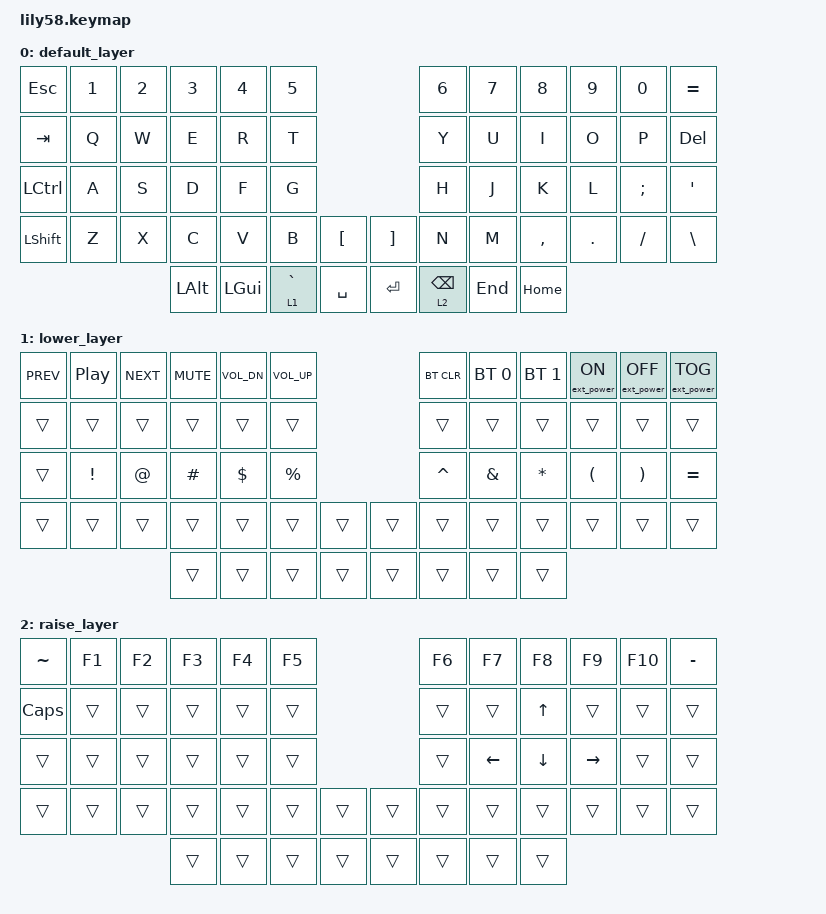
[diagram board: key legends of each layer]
/*
 * Copyright (c) 2020 The ZMK Contributors
 *
 * SPDX-License-Identifier: MIT
 */

#include <behaviors.dtsi>
#include <dt-bindings/zmk/bt.h>
#include <dt-bindings/zmk/ext_power.h>
#include <dt-bindings/zmk/keys.h>

/ {
    combos {
        compatible = "zmk,combos";

        combo_esc {
            timeout-ms = <50>;
            key-positions = <0 1>;
            bindings = <&kp ESC>;
        };
    };

    behaviors {
        ss_hs_modmorph: ss_hs_modmorph {
            compatible = "zmk,behavior-mod-morph";
            label = "SS_HS_MODMORPH";
            bindings = <&kp M>, <&kp RIGHT_BRACKET>;

            #binding-cells = <0>;
            mods = <(MOD_LSFT|MOD_RSFT)>;
        };

        kh_hs_tapdance: kh_hs_tapdance {
            compatible = "zmk,behavior-tap-dance";
            label = "KH_HS_TAPDANCE";
            #binding-cells = <0>;
            tapping-term-ms = <200>;
            bindings = <&kp LEFT_BRACKET>, <&kp RIGHT_BRACKET>;
        };

        hrm: hrm {
            compatible = "zmk,behavior-hold-tap";
            #binding-cells = <2>;
            flavor = "tap-preferred";
            tapping-term-ms = <200>;
            quick-tap-ms = <200>;
            require-prior-idle-ms = <125>;
            bindings = <&kp>, <&kp>;
        };
    };

    keymap {
        compatible = "zmk,keymap";

        default_layer {
            // ------------------------------------------------------------------------------------------------------------
            // |  ESC  |  1  |  2  |  3   |  4   |  5   |                   |  6   |  7    |  8    |  9   |   0   |   `   |
            // |  TAB  |  Q  |  W  |  E   |  R   |  T   |                   |  Y   |  U    |  I    |  O   |   P   |   -   |
            // |  CTRL |  A  |  S  |  D   |  F   |  G   |                   |  H   |  J    |  K    |  L   |   ;   |   '   |
            // | SHIFT |  Z  |  X  |  C   |  V   |  B   |   "["  |  |  "]"  |  N   |  M    |  ,    |  .   |   /   | SHIFT |
            //                     | ALT  | GUI  | LOWER|  SPACE |  | ENTER | RAISE| BSPC  | GUI   |

            bindings = <
&kp ESC    &kp N1  &kp N2  &kp N3    &kp N4    &kp N5                              &kp N6      &kp N7   &kp N8     &kp N9   &kp N0    &kp EQUAL
&kp TAB    &kp Q   &kp W   &kp E     &kp R     &kp T                               &kp Y       &kp U    &kp I      &kp O    &kp P     &kp DEL
&kp LCTRL  &kp A   &kp S   &kp D     &kp F     &kp G                               &kp H       &kp J    &kp K      &kp L    &kp SEMI  &kp SQT
&kp LSHFT  &kp Z   &kp X   &kp C     &kp V     &kp B        &kp LBKT     &kp RBKT  &kp N       &kp M    &kp COMMA  &kp DOT  &kp FSLH  &kp BSLH
                           &kp LALT  &kp LGUI  &lt 1 GRAVE  &kp SPACE    &kp RET   &lt 2 BSPC  &kp END  &kp HOME
            >;
        };

        lower_layer {
            // ------------------------------------------------------------------------------------------------------------
            // | BTCLR | BT1 | BT2 |  BT3 |  BT4 |  BT5 |                   |      |       |       |      |       |       |
            // |  F1   |  F2 |  F3 |  F4  |  F5  |  F6  |                   |  F7  |  F8   |  F9   |  F10 |  F11  |  F12  |
            // |   `   |  !  |  @  |  #   |  $   |  %   |                   |  ^   |  &    |  *    |  (   |   )   |   ~   |
            // |       |     |     |      |      |      |        |  |       |      |  _    |  +    |  {   |   }   |  "|"  |
            //                     |      |      |      |        |  |       |      |       |       |

            bindings = <
&kp C_PREV  &kp C_PLAY_PAUSE  &kp C_NEXT  &kp C_MUTE  &kp C_VOL_DN  &kp C_VOL_UP                    &bt BT_CLR  &bt BT_SEL 0  &bt BT_SEL 1  &ext_power EP_ON  &ext_power EP_OFF  &ext_power EP_TOG
&trans      &trans            &trans      &trans      &trans        &trans                          &trans      &trans        &trans        &trans            &trans             &trans
&trans      &kp EXCL          &kp AT      &kp HASH    &kp DLLR      &kp PRCNT                       &kp CARET   &kp AMPS      &kp STAR      &kp LPAR          &kp RPAR           &kp EQUAL
&trans      &trans            &trans      &trans      &trans        &trans        &trans    &trans  &trans      &trans        &trans        &trans            &trans             &trans
                                          &trans      &trans        &trans        &trans    &trans  &trans      &trans        &trans
            >;
        };

        raise_layer {
            // ------------------------------------------------------------------------------------------------------------
            // |       |     |     |      |      |      |                   |      |       |       |      |       |       |
            // |   `   |  1  |  2  |  3   |  4   |  5   |                   |  6   |   7   |   8   |  9   |   0   |       |
            // |   F1  |  F2 |  F3 |  F4  |  F5  |  F6  |                   |      |   <-  |   v   |  ^   |  ->   |       |
            // |   F7  |  F8 |  F9 |  F10 |  F11 |  F12 |        |  |       |  +   |   -   |   =   |  [   |   ]   |   \   |
            //                     |      |      |      |        |  |       |      |       |       |

            bindings = <
&kp TILDE     &kp F1  &kp F2  &kp F3  &kp F4  &kp F5                    &kp F6  &kp F7    &kp F8    &kp F9     &kp F10  &kp MINUS
&kp CAPSLOCK  &trans  &trans  &trans  &trans  &trans                    &trans  &trans    &kp UP    &trans     &trans   &trans
&trans        &trans  &trans  &trans  &trans  &trans                    &trans  &kp LEFT  &kp DOWN  &kp RIGHT  &trans   &trans
&trans        &trans  &trans  &trans  &trans  &trans  &trans    &trans  &trans  &trans    &trans    &trans     &trans   &trans
                              &trans  &trans  &trans  &trans    &trans  &trans  &trans    &trans
            >;
        };
    };
};
